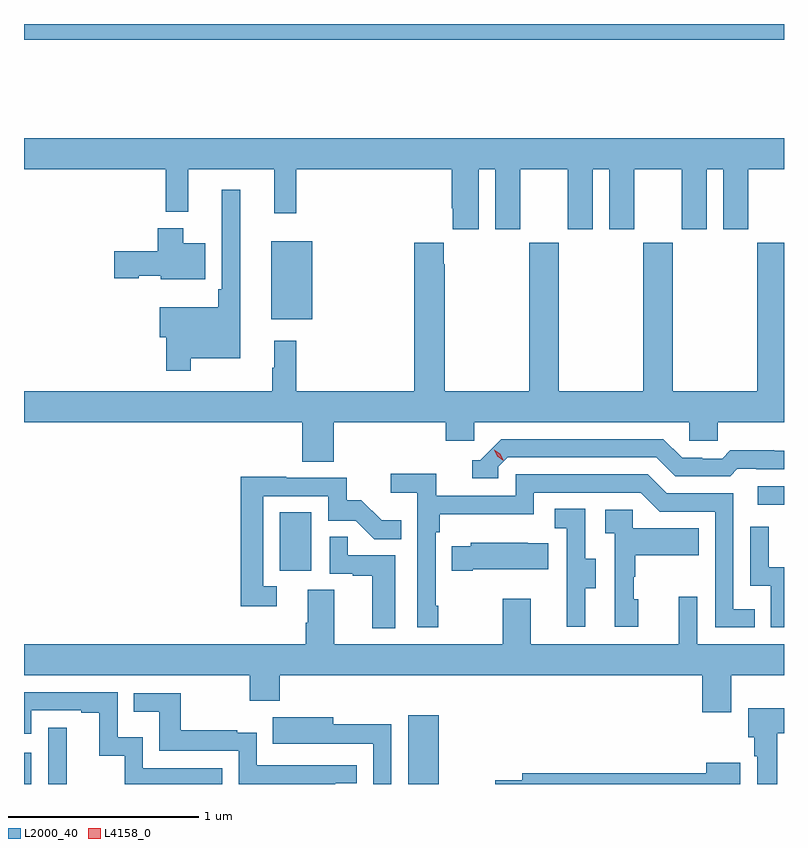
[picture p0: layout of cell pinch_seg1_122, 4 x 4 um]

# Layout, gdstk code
import gdstk
lib = gdstk.Library(unit=1e-6, precision=1e-09)
def R(c, l, rs):  # rectangles x0, y0, x1, y1
    for r in rs: c.add(gdstk.rectangle(r[:2], r[2:], *l))
def P(c, l, *ps):  # polygons
    for p in ps: c.add(gdstk.Polygon(p, *l))
L2000_40 = (2000, 40)
L4158_0 = (4158, 0)

pinch_seg1_122 = lib.new_cell('pinch_seg1_122')
R(pinch_seg1_122, L2000_40, [(1065.071,541.836,1065.108,542.001), (1065.198,541.836,1065.295,542.131), (1067.093,541.836,1067.254,542.197), (1066.418,542.958,1066.582,543.265), (1068.933,543.306,1069.071,543.402), (1066.373,544.283,1066.588,544.693), (1065.071,545.752,1069.071,545.836)])
P(pinch_seg1_122, L2000_40, [(1065.071,545.072),(1065.817,545.072),(1065.817,544.847),(1065.935,544.847),(1065.935,545.072),(1066.388,545.072),(1066.388,544.839),(1066.505,544.839),(1066.505,545.072),(1067.321,545.072),(1067.321,544.867),(1067.327,544.867),(1067.327,544.755),(1067.464,544.755),(1067.464,545.072),(1067.552,545.072),(1067.552,544.755),(1067.683,544.755),(1067.683,545.072),(1067.933,545.072),(1067.933,544.755),(1068.064,544.755),(1068.064,545.072),(1068.152,545.072),(1068.152,544.755),(1068.283,544.755),(1068.283,545.072),(1068.533,545.072),(1068.533,544.755),(1068.664,544.755),(1068.664,545.072),(1068.752,545.072),(1068.752,544.755),(1068.883,544.755),(1068.883,545.072),(1069.071,545.072),(1069.071,545.236),(1065.071,545.236)],
  [(1065.949,544.076),(1066.21,544.076),(1066.21,544.963),(1066.113,544.963),(1066.113,544.441),(1066.093,544.441),(1066.093,544.345),(1065.786,544.345),(1065.786,544.187),(1065.82,544.187),(1065.82,544.011),(1065.949,544.011)],
  [(1066.024,544.681),(1065.91,544.681),(1065.91,544.762),(1065.776,544.762),(1065.776,544.641),(1065.546,544.641),(1065.546,544.499),(1065.675,544.499),(1065.675,544.511),(1065.792,544.511),(1065.792,544.493),(1066.024,544.493)],
  [(1068.486,544.684),(1068.331,544.684),(1068.331,543.904),(1067.886,543.904),(1067.886,544.684),(1067.731,544.684),(1067.731,543.904),(1067.286,543.904),(1067.286,544.571),(1067.281,544.571),(1067.281,544.684),(1067.126,544.684),(1067.126,543.904),(1066.505,543.904),(1066.505,544.168),(1066.388,544.168),(1066.388,544.028),(1066.377,544.028),(1066.377,543.904),(1065.071,543.904),(1065.071,543.74),(1066.535,543.74),(1066.535,543.532),(1066.7,543.532),(1066.7,543.74),(1067.291,543.74),(1067.291,543.642),(1067.442,543.642),(1067.442,543.74),(1068.573,543.74),(1068.573,543.642),(1068.723,543.642),(1068.723,543.74),(1069.071,543.74),(1069.071,544.684),(1068.931,544.684),(1068.931,543.904),(1068.486,543.904)],
  [(1067.568,543.507),(1067.616,543.555),(1068.399,543.555),(1068.498,543.456),(1068.787,543.456),(1068.826,543.495),(1068.925,543.495),(1068.925,543.492),(1069.071,543.492),(1069.071,543.589),(1069.02,543.589),(1069.02,543.592),(1068.787,543.592),(1068.745,543.549),(1068.642,543.549),(1068.642,543.552),(1068.535,543.552),(1068.436,543.651),(1067.583,543.651),(1067.472,543.54),(1067.429,543.54),(1067.429,543.444),(1067.568,543.444)],
  [(1067.251,542.773),(1067.238,542.773),(1067.238,543.161),(1067.258,543.161),(1067.258,543.257),(1067.754,543.257),(1067.754,543.369),(1068.318,543.369),(1068.417,543.27),(1068.708,543.27),(1068.708,542.661),(1068.917,542.661),(1068.917,542.757),(1068.804,542.757),(1068.804,543.366),(1068.454,543.366),(1068.355,543.465),(1067.658,543.465),(1067.658,543.354),(1067.24,543.354),(1067.24,543.47),(1067.001,543.47),(1067.001,543.368),(1067.142,543.368),(1067.142,542.661),(1067.251,542.661)],
  [(1066.402,542.877),(1066.329,542.877),(1066.329,543.351),(1066.671,543.351),(1066.671,543.222),(1066.816,543.222),(1066.914,543.124),(1067.057,543.124),(1067.057,543.223),(1066.953,543.223),(1066.846,543.33),(1066.77,543.33),(1066.77,543.447),(1066.451,543.447),(1066.451,543.452),(1066.213,543.452),(1066.213,542.772),(1066.402,542.772)],
  [(1068.025,542.866),(1068.079,542.866),(1068.079,543.021),(1068.024,543.021),(1068.024,543.284),(1067.865,543.284),(1067.865,543.181),(1067.928,543.181),(1067.928,542.877),(1067.927,542.877),(1067.927,542.664),(1068.025,542.664)],
  [(1068.304,542.808),(1068.279,542.808),(1068.279,542.927),(1068.289,542.927),(1068.289,543.041),(1068.623,543.041),(1068.623,543.181),(1068.276,543.181),(1068.276,543.279),(1068.129,543.279),(1068.129,543.155),(1068.18,543.155),(1068.18,542.664),(1068.304,542.664)],
  [(1069.071,542.978),(1068.99,542.978),(1068.99,543.19),(1068.894,543.19),(1068.894,542.88),(1069.002,542.88),(1069.002,542.661),(1069.071,542.661)],
  [(1067.026,543.039),(1066.775,543.039),(1066.775,543.137),(1066.68,543.137),(1066.68,542.943),(1066.801,542.943),(1066.801,542.931),(1066.904,542.931),(1066.904,542.657),(1067.026,542.657)],
  [(1067.434,542.966),(1067.831,542.966),(1067.831,543.103),(1067.723,543.103),(1067.723,543.106),(1067.421,543.106),(1067.421,543.088),(1067.323,543.088),(1067.323,542.959),(1067.434,542.959)],
  [(1068.793,542.408),(1069.071,542.408),(1069.071,542.572),(1068.615,542.572),(1068.615,542.821),(1068.518,542.821),(1068.518,542.572),(1067.737,542.572),(1067.737,542.812),(1067.59,542.812),(1067.59,542.572),(1066.705,542.572),(1066.705,542.858),(1066.565,542.858),(1066.565,542.684),(1066.553,542.684),(1066.553,542.572),(1065.071,542.572),(1065.071,542.408),(1066.258,542.408),(1066.258,542.273),(1066.418,542.273),(1066.418,542.408),(1068.641,542.408),(1068.641,542.214),(1068.793,542.214)],
  [(1066.115,541.92),(1065.696,541.92),(1065.696,542.083),(1065.564,542.083),(1065.564,542.319),(1065.071,542.319),(1065.071,542.1),(1065.108,542.1),(1065.108,542.223),(1065.371,542.223),(1065.371,542.211),(1065.467,542.211),(1065.467,541.985),(1065.6,541.985),(1065.6,541.836),(1066.115,541.836)],
  [(1066.709,541.839),(1066.822,541.839),(1066.822,541.935),(1066.296,541.935),(1066.296,542.107),(1066.193,542.107),(1066.193,542.119),(1065.895,542.119),(1065.895,542.313),(1065.649,542.313),(1065.649,542.216),(1065.784,542.216),(1065.784,542.01),(1066.2,542.01),(1066.2,541.836),(1066.709,541.836)],
  [(1069.036,542.102),(1069.071,542.102),(1069.071,542.236),(1068.884,542.236),(1068.884,542.082),(1068.914,542.082),(1068.914,541.982),(1068.929,541.982),(1068.929,541.836),(1069.036,541.836)],
  [(1067.004,542.15),(1066.699,542.15),(1066.699,542.188),(1066.381,542.188),(1066.381,542.048),(1066.595,542.048),(1066.595,542.049),(1066.908,542.049),(1066.908,541.836),(1067.004,541.836)],
  [(1068.841,541.948),(1068.662,541.948),(1068.662,541.892),(1067.693,541.892),(1067.693,541.856),(1067.551,541.856),(1067.551,541.836),(1068.841,541.836)])
P(pinch_seg1_122, L4158_0, [(1067.592,543.541),(1067.562,543.562),(1067.546,543.595),(1067.546,543.595),(1067.547,543.595),(1067.577,543.574),(1067.593,543.541),(1067.593,543.541)])

lib.write_gds('pinch_seg1_122.gds')
